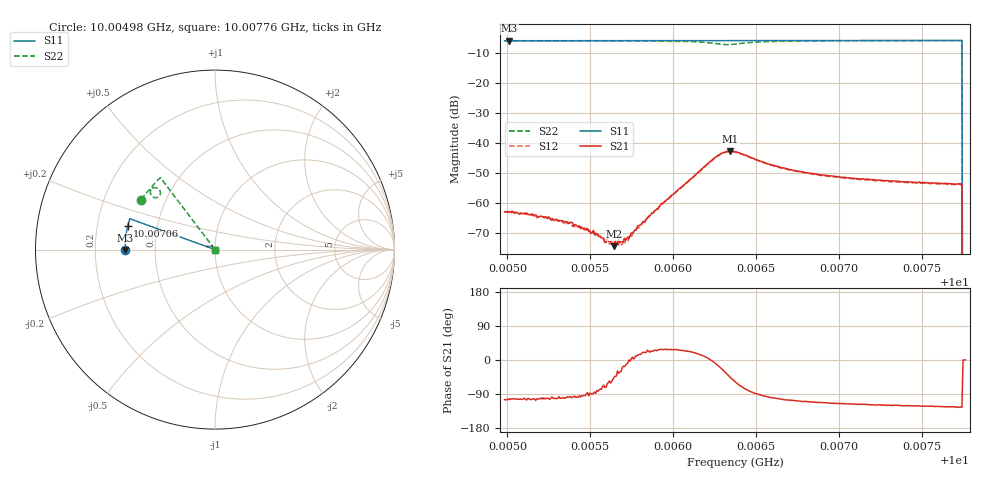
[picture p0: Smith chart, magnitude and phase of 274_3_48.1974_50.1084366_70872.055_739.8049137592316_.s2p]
#  HZ  S  RI  R  50.00
! Rohde & Schwarz Vector Network Analyzer
! Rohde-Schwarz,ZNB20-2Port,1311601062101988,3.16
! Created: UTC 3/20/2024, 11:48:18 AM
! freq[Hz]  re:S11  im:S11  re:S21  im:S21  re:S12  im:S12  re:S22  im:S22
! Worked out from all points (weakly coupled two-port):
!   401 points, 10.00498 GHz to 10.00776 GHz, reference 50 ohm
!   highest |S21| = -42.78 dB at 10.00634 GHz (marker M1); lowest = -74.4 dB at 10.00564 GHz (marker M2)
!   lowest |S11| = -6.0 dB at 10.00501 GHz (marker M3), VSWR 3.00, Z = 16.7 - j0.068 ohm
!   |S11| at or under -10 dB: 10.00774 GHz to end of sweep
!   |S22| runs from - to -6.0 dB; largest |S21 - S12| = 0.00041
!   S11 on the Smith chart (normalised r, x): 10.00498 GHz: 0.33, -0.00; 10.00706 GHz: 0.34, +0.12; 10.00776 GHz: 1.00, +0.00
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1.0004983e10  -0.4997 -0.00334  -0.000179 -0.000684  -0.000129 -0.000713  -0.4097 0.277
1.0005011e10  -0.4996 -0.00153  -0.000151 -0.000702  -0.00015 -0.000693  -0.4087 0.2787
1.000524e10  -0.4999 0.0136  -0.0001 -0.000538  -6.14e-05 -0.000539  -0.4001 0.2922
1.0005379e10  -0.4997 0.0225  -5.32e-05 -0.000468  -5.66e-05 -0.000467  -0.3943 0.3005
1.0005449e10  -0.4997 0.027  -2.93e-05 -0.000392  -2.65e-05 -0.000397  -0.3912 0.3046
1.000556e10  -0.4996 0.0342  6.48e-05 -0.000268  5.57e-05 -0.00027  -0.3861 0.3114
1.0005602e10  -0.4995 0.0369  0.000114 -0.00023  8.71e-05 -0.000204  -0.384 0.314
1.0005643e10  -0.4993 0.0397  0.000133 -0.000135  0.000136 -0.000144  -0.3818 0.3166
1.0005692e10  -0.4992 0.0427  0.000207 -8.1e-05  0.000196 -5.15e-05  -0.3792 0.3196
1.000572e10  -0.499 0.0444  0.000252 -4.43e-05  0.000244 -2.89e-05  -0.3774 0.3214
1.0005845e10  -0.4985 0.0527  0.000506 0.000246  0.000508 0.000212  -0.3693 0.3296
1.0005914e10  -0.4982 0.0572  0.000749 0.000382  0.000737 0.000443  -0.3639 0.3341
1.0006254e10  -0.4953 0.079  0.00569 -0.000889  0.00558 -0.000581  -0.3063 0.3276
1.0006303e10  -0.4947 0.082  0.00608 -0.0032  0.0061 -0.00287  -0.3058 0.3066
1.0006345e10  -0.4945 0.0843  0.00504 -0.00522  0.00518 -0.00487  -0.3185 0.2921
1.0006373e10  -0.4944 0.086  0.00383 -0.00597  0.00404 -0.00564  -0.3302 0.2889
1.0006616e10  -0.4924 0.1017  -0.000765 -0.00405  -0.000596 -0.00398  -0.3594 0.3294
1.0006838e10  -0.4898 0.1158  -0.00109 -0.00288  -0.000938 -0.00285  -0.3496 0.3513
1.000706e10  -0.4867 0.1298  -0.00114 -0.00234  -0.000998 -0.00236  -0.3385 0.3663
1.0007303e10  -0.483 0.1451  -0.00113 -0.00203  -0.00103 -0.00199  -0.3262 0.3799
1.0007727e10  -0.4753 0.1712  -0.00117 -0.00173  -0.00107 -0.00173  -0.3047 0.4001
1.0007762e10  0 0  0 0  0 0  0 0
